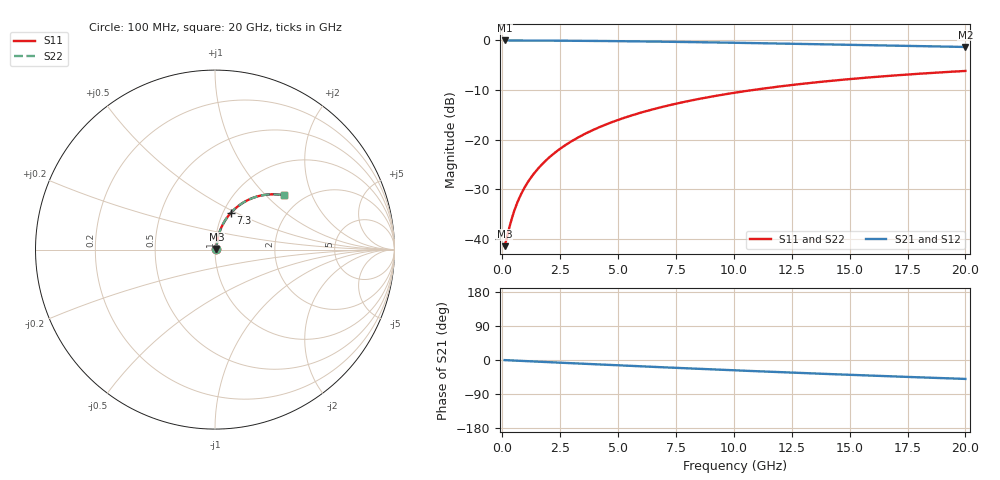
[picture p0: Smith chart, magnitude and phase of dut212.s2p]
! Touchstone file exported from HFSS 2026.1.0
!  File:  C:/ffzhzh/LocalFiles/Ansys_Project_Files/temp_train_BSMRDL_212_1782987910_6248.aedt
!  Generated:  06:26:25 PM Jul  2, 2026
!  Design:  BSMRDL
!  Project:  temp_train_BSMRDL_212_1782987910_6248
! Variables:
!  h_bsmrdl = 3.12um
!  h_ox = 20um
!  h_rdl = 5um
!  h_sub = 80um
!  h_tmrdl = 5um
!  h_tsv = 80um
!  h_via = 3um
!  l_bsmrdl = 739.44um
!  l_sub = 1139.44um
!  l_tmrdl = 200um
!  m_sub = 200um
!  pitch = 32.84um
!  r_tsv = 6um
!  s_tmrdl = 10um
!  w_bsmrdl = 10.76um
!  w_sub = 500um
!  w_tmrdl = 12um
!  x_tsv_center1 = 206um
!  x_tsv_center2 = 956.2um
!  x_tsv_center3 = 1168.2um
!  x_tsv_center4 = 1918.4um
!  x_tsv_center5 = 2130.4um
!  x_tsv_center6 = 2880.6um
# GHz S MA R 50.000000
! Terminal data exported
! Port[1] = BSM_RDL1_1_T1
! Port[2] = BSM_RDL1_1_T2
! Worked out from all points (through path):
!   200 points, 100 MHz to 20 GHz, reference 50 ohm
!   highest |S21| = -0.07 dB at 100 MHz (marker M1); lowest = -1.4 dB at 20 GHz (marker M2)
!   group delay of S21, straight-line fit = 6.95 ps
!   lowest |S11| = -41.4 dB at 100 MHz (marker M3), VSWR 1.02, Z = 50.8 + j0.344 ohm
!   |S11| at or under -10 dB: start of sweep to 10.88 GHz
!   |S22| runs from -41.4 to -6.2 dB; largest |S21 - S12| = 3.5e-15
!   S11 on the Smith chart (normalised r, x): 100 MHz: 1.02, +0.01; 7.3 GHz: 1.09, +0.47; 20 GHz: 1.63, +1.29
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0.1  0.008471 23.5  0.9922 -0.3  0.9922 -0.3  0.008471 23.5
! Gamma 0 0 0 0
! Port Impedance 50 0 50 0
0.4  0.01575 58.0  0.9918 -1.2  0.9918 -1.2  0.01575 58.0
0.5  0.01871 62.5  0.9916 -1.5  0.9916 -1.5  0.01871 62.5
0.6  0.02174 65.7  0.9915 -1.7  0.9915 -1.7  0.02174 65.7
0.7  0.0248 68.0  0.9913 -2.0  0.9913 -2.0  0.0248 68.0
0.9  0.03096 71.1  0.9909 -2.6  0.9909 -2.6  0.03096 71.1
1.2  0.04028 73.7  0.9903 -3.4  0.9903 -3.4  0.04028 73.7
1.4  0.04651 74.7  0.9899 -4.0  0.9899 -4.0  0.04651 74.7
1.7  0.05589 75.6  0.9892 -4.8  0.9892 -4.8  0.05589 75.6
2.2  0.07154 76.1  0.988 -6.2  0.988 -6.2  0.07154 76.1
2.8  0.09028 75.8  0.9862 -7.9  0.9862 -7.9  0.09028 75.8
3.5  0.112 74.9  0.9836 -9.9  0.9836 -9.9  0.112 74.9
4.2  0.1334 73.6  0.9805 -11.8  0.9805 -11.8  0.1334 73.6
5  0.1575 72.0  0.9765 -14.0  0.9765 -14.0  0.1575 72.0
5.9  0.184 69.9  0.9713 -16.5  0.9713 -16.5  0.184 69.9
6.8  0.2098 67.8  0.9654 -18.9  0.9654 -18.9  0.2098 67.8
7.3  0.2238 66.6  0.962 -20.2  0.962 -20.2  0.2238 66.6
8.6  0.259 63.4  0.9523 -23.6  0.9523 -23.6  0.259 63.4
10.1  0.2974 59.8  0.9401 -27.4  0.9401 -27.4  0.2974 59.8
13.4  0.3731 52.1  0.9113 -35.4  0.9113 -35.4  0.3731 52.1
16.7  0.437 44.8  0.8818 -42.9  0.8818 -42.9  0.437 44.8
20  0.4899 38.0  0.8535 -49.9  0.8535 -49.9  0.4899 38.0
